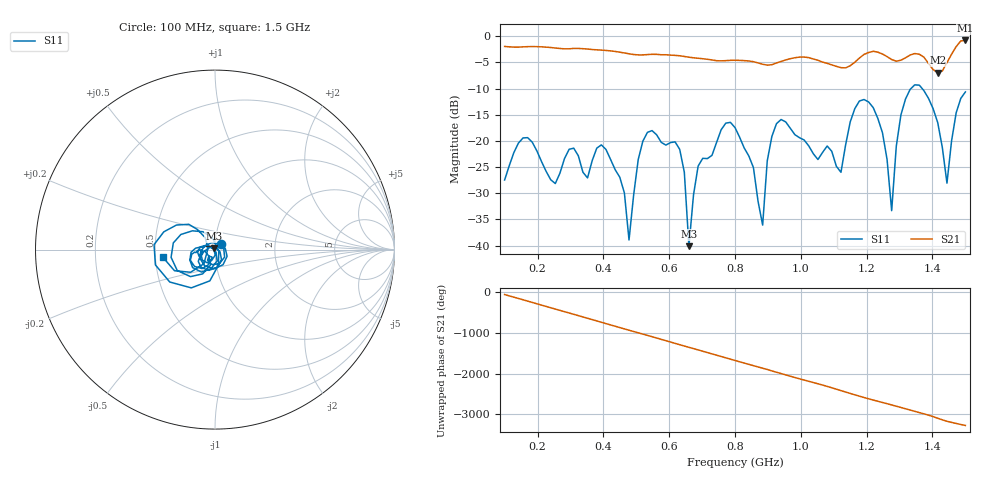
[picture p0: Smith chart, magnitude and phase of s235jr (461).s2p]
! NanoVNA-App
! Date: 2025-09-25 15:07:45
! Start: 100MHz Stop: 1,5GHz Points: 101
! S-Parameter data: F S11 S21 S12 S22
# Hz S RI R 50
!  Frequency  S11_Real  S11_Imag  S21_Real  S21_Imag  S12_Real  S12_Imag  S22_Real  S22_Imag
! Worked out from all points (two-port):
!   101 points, 100 MHz to 1.5 GHz, reference 50 ohm
!   highest |S21| = -0.82 dB at 1.5 GHz (marker M1); lowest = -7.0 dB at 1.416 GHz (marker M2)
!   |S21| within 3 dB of the highest: start of sweep to 639.7 MHz; 1.185 GHz to 1.26 GHz (74.36 MHz wide, 6.08 % of centre) (the widest 2 of 4)
!   lowest |S11| = -40.1 dB at 660 MHz (marker M3), VSWR 1.02, Z = 49.2 + j0.625 ohm
!   |S11| at or under -10 dB: start of sweep to 1.335 GHz; 1.369 GHz to end of sweep
!   S12 and S22 are empty: the file has one direction only
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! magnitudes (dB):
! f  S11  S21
! 100 MHz  -27.5  -2.0
! 156 MHz  -19.4  -2.0
! 338 MHz  -26.0  -2.4
! 408 MHz  -21.6  -2.7
! 478 MHz  -38.9  -3.4
! 520 MHz  -20.1  -3.6
! 576 MHz  -20.3  -3.5
! 632 MHz  -21.6  -3.7
! 660 MHz  -40.1  -4.0
! 688 MHz  -24.8  -4.2
! 800 MHz  -17.5  -4.6
! 884 MHz  -36.1  -5.4
! 926 MHz  -16.7  -5.1
! 1.038 GHz  -22.5  -4.4
! 1.122 GHz  -26.0  -6.0
! 1.206 GHz  -12.6  -3.1
! 1.276 GHz  -33.3  -4.5
! 1.304 GHz  -15.1  -4.6
! 1.332 GHz  -10.2  -3.6
! 1.416 GHz  -16.5  -7.0
! 1.444 GHz  -28.1  -5.1
! 1.5 GHz  -10.7  -0.8
